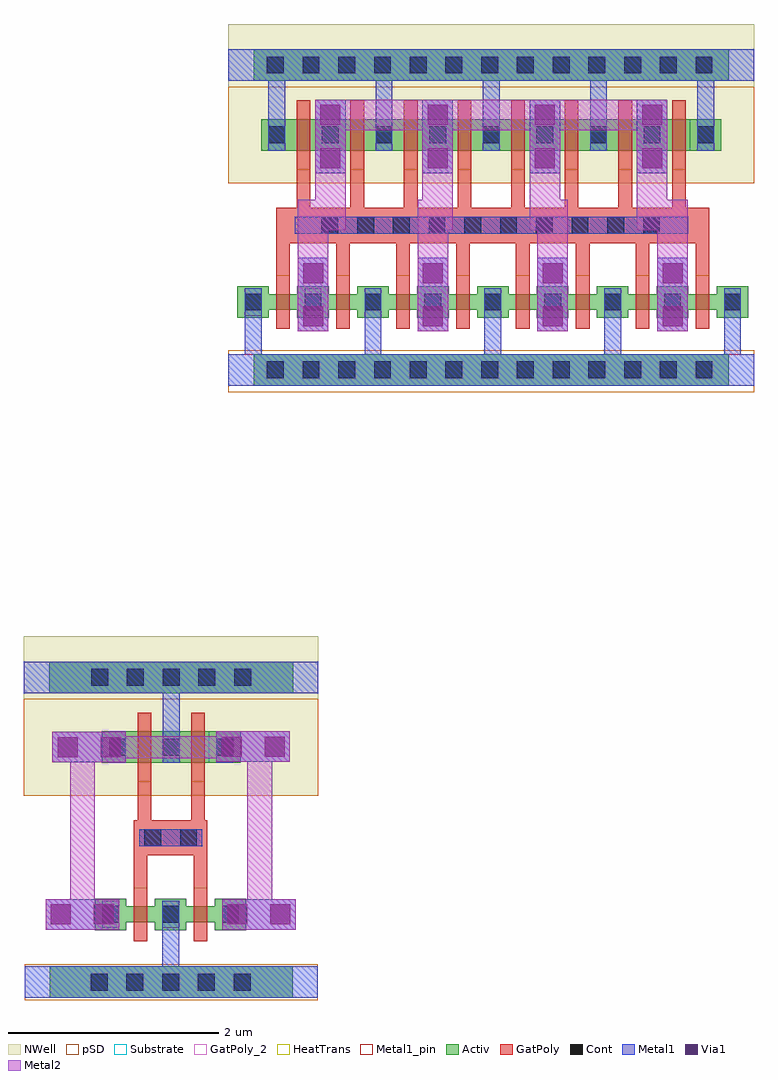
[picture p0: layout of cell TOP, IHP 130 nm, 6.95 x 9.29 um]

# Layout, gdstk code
from math import pi, radians
import gdstk
lib = gdstk.Library(unit=1e-6, precision=1e-09)
def R(c, l, rs):  # rectangles x0, y0, x1, y1
    for r in rs: c.add(gdstk.rectangle(r[:2], r[2:], *l))
def A(c, l, x, y, w, h, nx, ny, dx, dy):  # array of equal rectangles
    R(c, l, [(x+i*dx, y+j*dy, x+i*dx+w, y+j*dy+h) for i in range(nx) for j in range(ny)])
def P(c, l, *ps):  # polygons
    for p in ps: c.add(gdstk.Polygon(p, *l))
Activ = (1, 0)
GatPoly = (5, 0)
GatPoly_2 = (5, 2)
Cont = (6, 0)
Metal1 = (8, 0)
Metal1_pin = (8, 2)
Metal2 = (10, 0)
pSD = (14, 0)
Via1 = (19, 0)
NWell = (31, 0)
Substrate = (40, 0)
HeatTrans = (51, 0)

pmos_2 = lib.new_cell('pmos$2')
A(pmos_2, Activ, 0, 0, 0.3, 0.3, 3, 1, 0.51, 0)
R(pmos_2, Activ, [(0,0,1.32,0.3)])
R(pmos_2, GatPoly, [(0.34,-0.18,0.47,0.48), (0.34,-0.18,0.47,0.48), (0.85,-0.18,0.98,0.48)])
A(pmos_2, Cont, 0.07, 0.07, 0.16, 0.16, 3, 1, 0.51, 0)
R(pmos_2, Metal1, [(0.07,0,0.23,0.3), (0.07,0,0.23,0.3), (0.58,0,0.74,0.3), (0.58,0,0.74,0.3), (1.09,0,1.25,0.3)])
R(pmos_2, pSD, [(-0.18,-0.3,1.5,0.6)])
R(pmos_2, NWell, [(-0.31,-0.31,1.63,0.61)])
R(pmos_2, Substrate, [(1.02,0,1.32,0.3)])
R(pmos_2, HeatTrans, [(0.34,-0.18,0.47,0.48), (0.85,-0.18,0.98,0.48)])
pmos_2.add(gdstk.Label('pmos', (0.405,0.15), layer=63, texttype=0))
pmos_2.add(gdstk.Label('pmos', (0.405,0.15), layer=51, texttype=0))
pmos_2.add(gdstk.Label('pmos', (0.915,0.15), layer=51, texttype=0))

via_stack_1 = lib.new_cell('via_stack$1')
R(via_stack_1, Metal1, [(-0.35,-0.145,0.35,0.145)])
R(via_stack_1, Metal2, [(-0.35,-0.145,0.35,0.145)])
R(via_stack_1, Via1, [(-0.3,-0.095,-0.11,0.095), (0.11,-0.095,0.3,0.095)])

nmos_2 = lib.new_cell('nmos$2')
A(nmos_2, Activ, 0, 0, 0.3, 0.3, 3, 1, 0.57, 0)
R(nmos_2, Activ, [(0,0.075,1.44,0.225)])
R(nmos_2, GatPoly, [(0.37,-0.105,0.5,0.405), (0.94,-0.105,1.07,0.405)])
R(nmos_2, GatPoly_2, [(0.37,-0.105,0.5,0.405)])
A(nmos_2, Cont, 0.07, 0.07, 0.16, 0.16, 3, 1, 0.57, 0)
A(nmos_2, Metal1, 0.07, 0.02, 0.16, 0.26, 3, 1, 0.57, 0)
R(nmos_2, Metal1_pin, [(0.07,0.02,0.23,0.28), (0.64,0.02,0.8,0.28)])
R(nmos_2, HeatTrans, [(0.37,-0.105,0.5,0.405), (0.94,-0.105,1.07,0.405)])
nmos_2.add(gdstk.Label('nmos', (0.435,0.15), layer=63, texttype=0))
nmos_2.add(gdstk.Label('nmos', (0.435,0.15), layer=51, texttype=0))
nmos_2.add(gdstk.Label('nmos', (1.005,0.15), layer=51, texttype=0))

pmos = lib.new_cell('pmos')
A(pmos, Activ, 0, 0, 0.3, 0.3, 9, 1, 0.51, 0)
R(pmos, Activ, [(0,0,4.38,0.3)])
A(pmos, GatPoly, 0.34, -0.18, 0.13, 0.66, 8, 1, 0.51, 0)
R(pmos, GatPoly, [(0.34,-0.18,0.47,0.48)])
A(pmos, Cont, 0.07, 0.07, 0.16, 0.16, 9, 1, 0.51, 0)
A(pmos, Metal1, 0.58, 0, 0.16, 0.3, 8, 1, 0.51, 0)
R(pmos, Metal1, [(0.07,0,0.23,0.3), (0.07,0,0.23,0.3), (0.58,0,0.74,0.3)])
R(pmos, pSD, [(-0.18,-0.3,4.56,0.6)])
R(pmos, NWell, [(-0.31,-0.31,4.69,0.61)])
R(pmos, Substrate, [(4.08,0,4.38,0.3)])
A(pmos, HeatTrans, 0.34, -0.18, 0.13, 0.66, 8, 1, 0.51, 0)
pmos.add(gdstk.Label('pmos', (0.405,0.15), layer=63, texttype=0))
pmos.add(gdstk.Label('pmos', (0.405,0.15), layer=51, texttype=0))
pmos.add(gdstk.Label('pmos', (0.915,0.15), layer=51, texttype=0))
pmos.add(gdstk.Label('pmos', (1.425,0.15), layer=51, texttype=0))
pmos.add(gdstk.Label('pmos', (1.935,0.15), layer=51, texttype=0))
pmos.add(gdstk.Label('pmos', (2.445,0.15), layer=51, texttype=0))
pmos.add(gdstk.Label('pmos', (2.955,0.15), layer=51, texttype=0))
pmos.add(gdstk.Label('pmos', (3.465,0.15), layer=51, texttype=0))
pmos.add(gdstk.Label('pmos', (3.975,0.15), layer=51, texttype=0))

nmos = lib.new_cell('nmos')
A(nmos, Activ, 0, 0, 0.3, 0.3, 9, 1, 0.57, 0)
R(nmos, Activ, [(0,0.075,4.86,0.225)])
A(nmos, GatPoly, 0.37, -0.105, 0.13, 0.51, 8, 1, 0.57, 0)
R(nmos, GatPoly_2, [(0.37,-0.105,0.5,0.405)])
A(nmos, Cont, 0.07, 0.07, 0.16, 0.16, 9, 1, 0.57, 0)
A(nmos, Metal1, 0.07, 0.02, 0.16, 0.26, 9, 1, 0.57, 0)
R(nmos, Metal1_pin, [(0.07,0.02,0.23,0.28), (0.64,0.02,0.8,0.28)])
A(nmos, HeatTrans, 0.37, -0.105, 0.13, 0.51, 8, 1, 0.57, 0)
nmos.add(gdstk.Label('nmos', (0.435,0.15), layer=63, texttype=0))
nmos.add(gdstk.Label('nmos', (0.435,0.15), layer=51, texttype=0))
nmos.add(gdstk.Label('nmos', (1.005,0.15), layer=51, texttype=0))
nmos.add(gdstk.Label('nmos', (1.575,0.15), layer=51, texttype=0))
nmos.add(gdstk.Label('nmos', (2.145,0.15), layer=51, texttype=0))
nmos.add(gdstk.Label('nmos', (2.715,0.15), layer=51, texttype=0))
nmos.add(gdstk.Label('nmos', (3.285,0.15), layer=51, texttype=0))
nmos.add(gdstk.Label('nmos', (3.855,0.15), layer=51, texttype=0))
nmos.add(gdstk.Label('nmos', (4.425,0.15), layer=51, texttype=0))

top = lib.new_cell('TOP')
R(top, Activ, [(3.16,1.215,5.47,1.515), (3.155,4.115,5.475,4.415), (5.1,7.04,9.62,7.34), (5.1,7.04,9.62,7.34), (5.1,9.94,9.62,10.24), (5.1,9.94,9.62,10.24)])
P(top, GatPoly, [(5.315,8.09),(5.315,8.73),(5.51,8.73),(5.51,9.095),(5.64,9.095),(5.64,8.73),(6.02,8.73),(6.02,9.095),(6.15,9.095),(6.15,8.73),(6.53,8.73),(6.53,9.095),(6.66,9.095),(6.66,8.73),(7.04,8.73),(7.04,9.095),(7.17,9.095),(7.17,8.73),(7.55,8.73),(7.55,9.095),(7.68,9.095),(7.68,8.73),(8.06,8.73),(8.06,9.095),(8.19,9.095),(8.19,8.73),(8.57,8.73),(8.57,9.095),(8.7,9.095),(8.7,8.73),(9.08,8.73),(9.08,9.095),(9.21,9.095),(9.21,8.73),(9.435,8.73),(9.435,8.09),(9.305,8.09),(9.305,8.395),(8.865,8.395),(8.865,8.09),(8.735,8.09),(8.735,8.395),(8.295,8.395),(8.295,8.09),(8.165,8.09),(8.165,8.395),(7.725,8.395),(7.725,8.09),(7.595,8.09),(7.595,8.395),(7.155,8.395),(7.155,8.09),(7.025,8.09),(7.025,8.395),(6.585,8.395),(6.585,8.09),(6.455,8.09),(6.455,8.395),(6.015,8.395),(6.015,8.09),(5.885,8.09),(5.885,8.395),(5.445,8.395),(5.445,8.09)],
  [(5.315,8.09),(5.315,8.73),(5.51,8.73),(5.51,9.095),(5.64,9.095),(5.64,8.73),(6.02,8.73),(6.02,9.095),(6.15,9.095),(6.15,8.73),(6.53,8.73),(6.53,9.095),(6.66,9.095),(6.66,8.73),(7.04,8.73),(7.04,9.095),(7.17,9.095),(7.17,8.73),(7.55,8.73),(7.55,9.095),(7.68,9.095),(7.68,8.73),(8.06,8.73),(8.06,9.095),(8.19,9.095),(8.19,8.73),(8.57,8.73),(8.57,9.095),(8.7,9.095),(8.7,8.73),(9.08,8.73),(9.08,9.095),(9.21,9.095),(9.21,8.73),(9.435,8.73),(9.435,8.09),(9.305,8.09),(9.305,8.395),(8.865,8.395),(8.865,8.09),(8.735,8.09),(8.735,8.395),(8.295,8.395),(8.295,8.09),(8.165,8.09),(8.165,8.395),(7.725,8.395),(7.725,8.09),(7.595,8.09),(7.595,8.395),(7.155,8.395),(7.155,8.09),(7.025,8.09),(7.025,8.395),(6.585,8.395),(6.585,8.09),(6.455,8.09),(6.455,8.395),(6.015,8.395),(6.015,8.09),(5.885,8.09),(5.885,8.395),(5.445,8.395),(5.445,8.09)],
  [(3.96,2.265),(3.96,2.905),(3.995,2.905),(3.995,3.27),(4.125,3.27),(4.125,2.905),(4.505,2.905),(4.505,3.27),(4.635,3.27),(4.635,2.905),(4.66,2.905),(4.66,2.265),(4.53,2.265),(4.53,2.57),(4.09,2.57),(4.09,2.265)])
R(top, Cont, [(3.55,1.285,3.71,1.445), (3.89,1.285,4.05,1.445), (3.89,1.285,4.05,1.445), (4.23,1.285,4.39,1.445), (4.23,1.285,4.39,1.445), (4.57,1.285,4.73,1.445), (4.57,1.285,4.73,1.445), (4.91,1.285,5.07,1.445), (4.06,2.66,4.22,2.82), (4.4,2.66,4.56,2.82), (3.555,4.185,3.715,4.345), (3.895,4.185,4.055,4.345), (3.895,4.185,4.055,4.345), (4.235,4.185,4.395,4.345), (4.235,4.185,4.395,4.345), (4.575,4.185,4.735,4.345), (4.575,4.185,4.735,4.345), (4.915,4.185,5.075,4.345), (5.225,7.11,5.385,7.27), (5.225,7.11,5.385,7.27), (5.565,7.11,5.725,7.27), (5.565,7.11,5.725,7.27), (5.905,7.11,6.065,7.27), (5.905,7.11,6.065,7.27), (5.905,7.11,6.065,7.27), (5.905,7.11,6.065,7.27), (6.245,7.11,6.405,7.27), (6.245,7.11,6.405,7.27), (6.245,7.11,6.405,7.27), (6.245,7.11,6.405,7.27), (6.585,7.11,6.745,7.27), (6.585,7.11,6.745,7.27), (6.585,7.11,6.745,7.27), (6.585,7.11,6.745,7.27), (6.925,7.11,7.085,7.27), (6.925,7.11,7.085,7.27), (7.265,7.11,7.425,7.27), (7.265,7.11,7.425,7.27), (7.605,7.11,7.765,7.27), (7.605,7.11,7.765,7.27), (7.945,7.11,8.105,7.27), (7.945,7.11,8.105,7.27), (8.285,7.11,8.445,7.27), (8.285,7.11,8.445,7.27), (8.625,7.11,8.785,7.27), (8.625,7.11,8.785,7.27), (8.965,7.11,9.125,7.27), (8.965,7.11,9.125,7.27), (9.305,7.11,9.465,7.27), (9.305,7.11,9.465,7.27), (5.745,8.485,5.905,8.645), (5.745,8.485,5.905,8.645), (6.085,8.485,6.245,8.645), (6.085,8.485,6.245,8.645), (6.425,8.485,6.585,8.645), (6.425,8.485,6.585,8.645), (6.765,8.485,6.925,8.645), (6.765,8.485,6.925,8.645), (7.105,8.485,7.265,8.645), (7.105,8.485,7.265,8.645), (7.445,8.485,7.605,8.645), (7.445,8.485,7.605,8.645), (7.785,8.485,7.945,8.645), (7.785,8.485,7.945,8.645), (8.125,8.485,8.285,8.645), (8.125,8.485,8.285,8.645), (8.465,8.485,8.625,8.645), (8.465,8.485,8.625,8.645), (8.805,8.485,8.965,8.645), (8.805,8.485,8.965,8.645), (5.225,10.01,5.385,10.17), (5.225,10.01,5.385,10.17), (5.565,10.01,5.725,10.17), (5.565,10.01,5.725,10.17), (5.905,10.01,6.065,10.17), (5.905,10.01,6.065,10.17), (5.905,10.01,6.065,10.17), (5.905,10.01,6.065,10.17), (6.245,10.01,6.405,10.17), (6.245,10.01,6.405,10.17), (6.245,10.01,6.405,10.17), (6.245,10.01,6.405,10.17), (6.585,10.01,6.745,10.17), (6.585,10.01,6.745,10.17), (6.585,10.01,6.745,10.17), (6.585,10.01,6.745,10.17), (6.925,10.01,7.085,10.17), (6.925,10.01,7.085,10.17), (7.265,10.01,7.425,10.17), (7.265,10.01,7.425,10.17), (7.605,10.01,7.765,10.17), (7.605,10.01,7.765,10.17), (7.945,10.01,8.105,10.17), (7.945,10.01,8.105,10.17), (8.285,10.01,8.445,10.17), (8.285,10.01,8.445,10.17), (8.625,10.01,8.785,10.17), (8.625,10.01,8.785,10.17), (8.965,10.01,9.125,10.17), (8.965,10.01,9.125,10.17), (9.305,10.01,9.465,10.17), (9.305,10.01,9.465,10.17)])
R(top, Metal1, [(4.01,2.66,4.61,2.82), (5.49,8.485,9.235,8.645), (5.49,8.485,9.235,8.645)])
P(top, Metal1, [(5.24,9.575),(5.24,9.94),(4.86,9.94),(4.86,10.24),(9.86,10.24),(9.86,9.94),(9.48,9.94),(9.48,9.575),(9.32,9.575),(9.32,9.94),(8.46,9.94),(8.46,9.575),(8.3,9.575),(8.3,9.94),(7.44,9.94),(7.44,9.575),(7.28,9.575),(7.28,9.94),(6.42,9.94),(6.42,9.575),(6.26,9.575),(6.26,9.94),(5.4,9.94),(5.4,9.575)],
  [(5.24,9.575),(5.24,9.94),(4.86,9.94),(4.86,10.24),(9.86,10.24),(9.86,9.94),(9.48,9.94),(9.48,9.575),(9.32,9.575),(9.32,9.94),(8.46,9.94),(8.46,9.575),(8.3,9.575),(8.3,9.94),(7.44,9.94),(7.44,9.575),(7.28,9.575),(7.28,9.94),(6.42,9.94),(6.42,9.575),(6.26,9.575),(6.26,9.94),(5.4,9.94),(5.4,9.575)],
  [(4.86,7.04),(4.86,7.34),(5.015,7.34),(5.015,7.705),(5.175,7.705),(5.175,7.34),(6.155,7.34),(6.155,7.705),(6.315,7.705),(6.315,7.34),(7.295,7.34),(7.295,7.705),(7.455,7.705),(7.455,7.34),(8.435,7.34),(8.435,7.705),(8.595,7.705),(8.595,7.34),(9.575,7.34),(9.575,7.705),(9.735,7.705),(9.735,7.34),(9.86,7.34),(9.86,7.04)],
  [(4.86,7.04),(4.86,7.34),(5.015,7.34),(5.015,7.705),(5.175,7.705),(5.175,7.34),(6.155,7.34),(6.155,7.705),(6.315,7.705),(6.315,7.34),(7.295,7.34),(7.295,7.705),(7.455,7.705),(7.455,7.34),(8.435,7.34),(8.435,7.705),(8.595,7.705),(8.595,7.34),(9.575,7.34),(9.575,7.705),(9.735,7.705),(9.735,7.34),(9.86,7.34),(9.86,7.04)],
  [(2.92,1.215),(2.92,1.515),(4.23,1.515),(4.23,1.88),(4.39,1.88),(4.39,1.515),(5.71,1.515),(5.71,1.215)],
  [(4.235,3.75),(4.235,4.115),(2.915,4.115),(2.915,4.415),(5.715,4.415),(5.715,4.115),(4.395,4.115),(4.395,3.75)])
R(top, Metal1_pin, [(2.92,1.215,5.71,1.515), (4.01,2.66,4.61,2.82), (2.915,4.115,5.715,4.415), (4.86,7.04,9.86,7.34), (4.86,7.04,9.86,7.34), (5.49,8.485,9.235,8.645), (5.49,8.485,9.235,8.645), (4.86,9.94,9.86,10.24), (4.86,9.94,9.86,10.24)])
R(top, Metal2, [(5.04,2,5.275,3.61), (3.355,2.005,3.59,3.6), (3.825,3.495,4.805,3.705), (5.685,9.47,9.035,9.76), (5.685,9.47,9.035,9.76)])
P(top, Metal2, [(5.52,8.255),(5.52,8.81),(5.685,8.81),(5.685,9.06),(5.975,9.06),(5.975,8.52),(5.81,8.52),(5.81,8.255)],
  [(6.66,8.255),(6.66,8.81),(6.705,8.81),(6.705,9.06),(6.995,9.06),(6.995,8.52),(6.95,8.52),(6.95,8.255)],
  [(7.8,8.255),(7.8,8.52),(7.725,8.52),(7.725,9.06),(8.015,9.06),(8.015,8.81),(8.09,8.81),(8.09,8.255)],
  [(8.94,8.255),(8.94,8.52),(8.745,8.52),(8.745,9.06),(9.035,9.06),(9.035,8.81),(9.23,8.81),(9.23,8.255)],
  [(5.52,8.255),(5.52,8.81),(5.685,8.81),(5.685,9.06),(5.975,9.06),(5.975,8.52),(5.81,8.52),(5.81,8.255)],
  [(6.66,8.255),(6.66,8.81),(6.705,8.81),(6.705,9.06),(6.995,9.06),(6.995,8.52),(6.95,8.52),(6.95,8.255)],
  [(7.8,8.255),(7.8,8.52),(7.725,8.52),(7.725,9.06),(8.015,9.06),(8.015,8.81),(8.09,8.81),(8.09,8.255)],
  [(8.94,8.255),(8.94,8.52),(8.745,8.52),(8.745,9.06),(9.035,9.06),(9.035,8.81),(9.23,8.81),(9.23,8.255)])
R(top, pSD, [(2.92,1.195,5.71,1.535), (2.915,3.14,5.715,4.06), (4.86,6.975,9.86,7.375), (4.86,6.975,9.86,7.375), (4.86,8.965,9.86,9.885), (4.86,8.965,9.86,9.885)])
R(top, NWell, [(4.86,9.885,9.86,10.48), (4.86,9.885,9.86,10.48)])
P(top, NWell, [(2.915,3.14),(2.915,4.655),(5.715,4.655),(5.715,3.14),(5.285,3.14),(5.285,4.06),(3.345,4.06),(3.345,3.14)])
top.add(gdstk.Reference(pmos_2, (3.655,3.45)))
top.add(gdstk.Reference(via_stack_1, (3.535,3.6), rotation=pi))
top.add(gdstk.Reference(via_stack_1, (5.095,3.605), rotation=pi))
top.add(gdstk.Reference(nmos_2, (3.59,1.86)))
top.add(gdstk.Reference(via_stack_1, (3.47,2.01), rotation=pi))
top.add(gdstk.Reference(via_stack_1, (5.15,2.01), rotation=pi))
top.add(gdstk.Reference(pmos, (5.17,9.275)))
top.add(gdstk.Reference(nmos, (4.945,7.685)))
top.add(gdstk.Reference(via_stack_1, (6.805,7.905), rotation=3*pi/2))
top.add(gdstk.Reference(via_stack_1, (9.085,7.905), rotation=3*pi/2))
top.add(gdstk.Reference(via_stack_1, (7.945,7.905), rotation=3*pi/2))
top.add(gdstk.Reference(via_stack_1, (5.83,9.41), rotation=3*pi/2))
top.add(gdstk.Reference(via_stack_1, (6.85,9.41), rotation=3*pi/2))
top.add(gdstk.Reference(via_stack_1, (7.87,9.41), rotation=3*pi/2))
top.add(gdstk.Reference(via_stack_1, (5.665,7.905), rotation=3*pi/2))
top.add(gdstk.Reference(via_stack_1, (8.89,9.41), rotation=3*pi/2))
top.add(gdstk.Reference(pmos, (5.17,9.275)))
top.add(gdstk.Reference(nmos, (4.945,7.685)))
top.add(gdstk.Reference(via_stack_1, (6.805,7.905), rotation=3*pi/2))
top.add(gdstk.Reference(via_stack_1, (9.085,7.905), rotation=3*pi/2))
top.add(gdstk.Reference(via_stack_1, (7.945,7.905), rotation=3*pi/2))
top.add(gdstk.Reference(via_stack_1, (5.83,9.41), rotation=3*pi/2))
top.add(gdstk.Reference(via_stack_1, (6.85,9.41), rotation=3*pi/2))
top.add(gdstk.Reference(via_stack_1, (7.87,9.41), rotation=3*pi/2))
top.add(gdstk.Reference(via_stack_1, (5.665,7.905), rotation=3*pi/2))
top.add(gdstk.Reference(via_stack_1, (8.89,9.41), rotation=3*pi/2))

lib.write_gds('TOP.gds')
